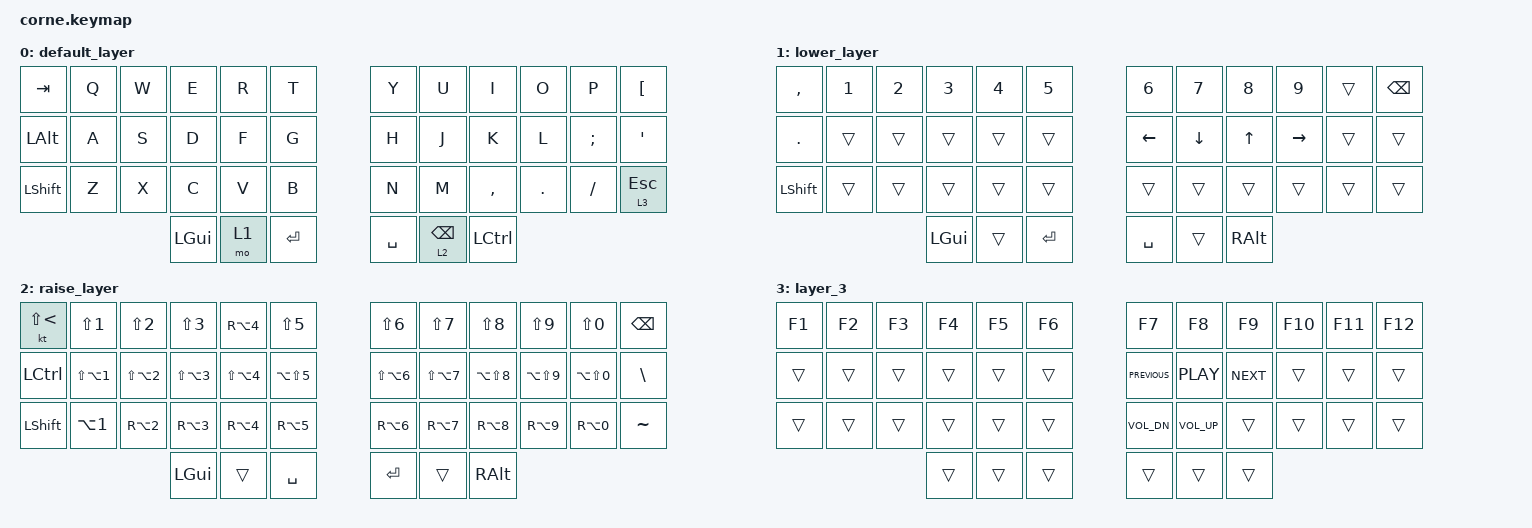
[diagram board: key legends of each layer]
/*
* Copyright (c) 2020 The ZMK Contributors
*
* SPDX-License-Identifier: MIT
*/

#include <behaviors.dtsi>
#include <dt-bindings/zmk/keys.h>

/ {
    behaviors {
        tp: tap_preferred {
            compatible = "zmk,behavior-hold-tap";
            label = "TAP_PREFERRED";
            #binding-cells = <2>;
            tapping-term-ms = <150>;
            quick-tap-ms = <0>;
            flavor = "tap-preferred";
            bindings = <&kp>, <&kp>;
        };
    };

    keymap {
        compatible = "zmk,keymap";

        default_layer {
            // -----------------------------------------------------------------------------------------
            // |  TAB  |  Q  |  W  |  E  |  R  |  T  |     |  Y  |  U    |  I  |  O  |  P  |  Å   |
            // | CTRL  |  A  |  S  |  D  |  F  |  G  |     |  H  |  J    |  K  |  L  |  Ö  |  Ä   |
            // | SHFT  |  Z  |  X  |  C  |  V  |  B  |     |  N  |  M    |  ,  |  .  |  -  |  ESC  |
            //                               | GUI | LWR | SPC |     | ENT | RSE  | ALT |

            bindings = <
&kp TAB    &kp Q  &kp W  &kp E     &kp R  &kp T      &kp Y      &kp U            &kp I             &kp O    &kp P      &kp LBKT
&kp LALT   &kp A  &kp S  &kp D     &kp F  &kp G      &kp H      &kp J            &kp K             &kp L    &kp SEMI   &kp SQT
&kp LSHFT  &kp Z  &kp X  &kp C     &kp V  &kp B      &kp N      &kp M            &kp COMMA         &kp DOT  &kp SLASH  &lt 3 ESCAPE
                         &kp LGUI  &mo 1  &kp RET    &kp SPACE  &lt 2 BACKSPACE  &kp LEFT_CONTROL
            >;
        };

        lower_layer {
            // -----------------------------------------------------------------------------------------
            // |  TAB  |  1  |  2  |  3  |  4  |  5  |     |  6  |  7  |  8  |  9  |  0  |  BSPC  |
            // | BTCLR | BT1 | BT2 | BT3 | BT4 | BT5 |     | LFT | DWN |  UP | RGT |     |       |
            // | SHFT  |     |     |     |     |     |     |     |     |     |     |     |       |
            //                               | GUI |     | SPC |     | ENT |     | ALT |

            bindings = <
&kp COMMA   &kp NUMBER_1  &kp N2  &kp N3    &kp N4  &kp N5     &kp N6     &kp N7    &kp N8    &kp N9     &trans  &kp BACKSPACE
&kp PERIOD  &trans        &trans  &trans    &trans  &trans     &kp LEFT   &kp DOWN  &kp UP    &kp RIGHT  &trans  &trans
&kp LSHFT   &trans        &trans  &trans    &trans  &trans     &trans     &trans    &trans    &trans     &trans  &trans
                                  &kp LGUI  &trans  &kp RET    &kp SPACE  &trans    &kp RALT
            >;
        };

        raise_layer {
            // -----------------------------------------------------------------------------------------
            // |  TAB  |  !  |  "  |  #  |  ¤  |  %  |     |  &  |  /  |  (  |  )  |  =  |  DEL  |
            // | CTRL  |     |     |     |     |     |     |     |     |  [  |  ]  |  \  |  `    |
            // | SHFT  |  <  |  @  |  £  |  $  |  €  |     |  {  |  }  |  ´  |  `  |  |  |  ~    |
            //                               | GUI |     | SPC |     | ENT |     | ALT |

            bindings = <
&kt LS(LESS_THAN)  &kp LS(N1)      &kp LS(N2)      &kp LS(N3)      &kp RA(N4)      &kp LS(N5)        &kp LS(NUMBER_6)  &kp LS(N7)      &kp LS(N8)      &kp LS(N9)      &kp LS(N0)      &kp BACKSPACE
&kp LCTRL          &kp LS(LA(N1))  &kp LS(LA(N2))  &kp LS(LA(N3))  &kp LS(LA(N4))  &kp LA(LS(N5))    &kp LS(LA(N6))    &kp LS(LA(N7))  &kp LA(LS(N8))  &kp LA(LS(N9))  &kp LA(LS(N0))  &kp BACKSLASH
&kp LSHFT          &kp LA(N1)      &kp RA(N2)      &kp RA(N3)      &kp RA(N4)      &kp RA(N5)        &kp RA(NUMBER_6)  &kp RA(N7)      &kp RA(N8)      &kp RA(N9)      &kp RA(N0)      &kp TILDE
                                                   &kp LGUI        &trans          &kp SPACE         &kp RET           &trans          &kp RALT
            >;
        };

        layer_3 {
            bindings = <
&kp F1  &kp F2  &kp F3  &kp F4  &kp F5  &kp F6    &kp F7          &kp F8        &kp F9      &kp F10  &kp F11  &kp F12
&trans  &trans  &trans  &trans  &trans  &trans    &kp C_PREVIOUS  &kp C_PLAY    &kp C_NEXT  &trans   &trans   &trans
&trans  &trans  &trans  &trans  &trans  &trans    &kp C_VOL_DN    &kp C_VOL_UP  &trans      &trans   &trans   &trans
                        &trans  &trans  &trans    &trans          &trans        &trans
            >;
        };
    };
};
